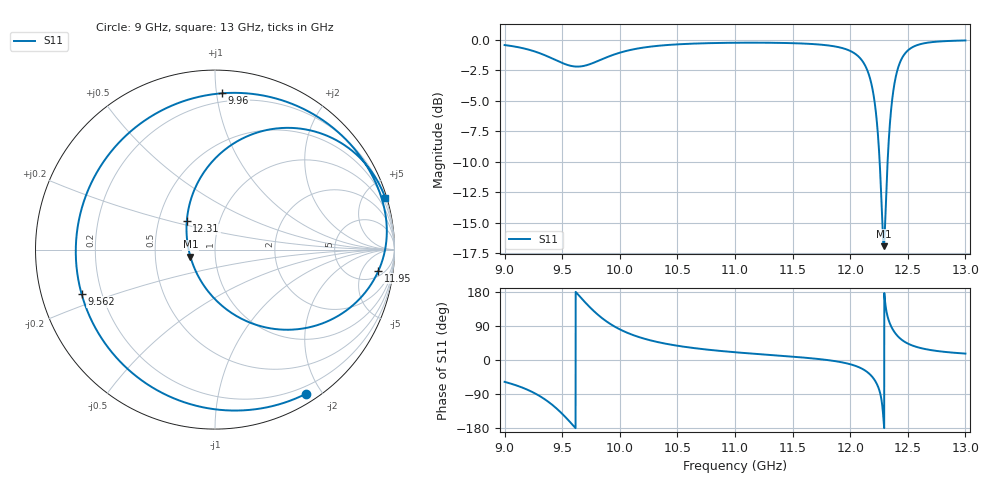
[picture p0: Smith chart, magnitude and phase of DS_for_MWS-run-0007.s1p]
! TOUCHSTONE file generated by CST DESIGN STUDIO
! Date and time: Tue Feb  4 13:41:08 2025
! Project name: C:\Work\MatlabApps\UnitCellOptimizationMatlab\CST\unitcell.cst
! Tree item: Tasks\Sweep1\SPara1\S-Parameters
! Header version: 2024
! Port assignment regex: !\s*Touchstone port\s*([0-9]+)\s*=\s*(CST MWS port|CST DES external port|CST DES block port)\s*(.+)\s* \(\"(.*)\"\)(\s*mode\s*([0-9]+))?.*
! Touchstone port assignment:
! Touchstone port 1 = CST DES external port 1 ("")
# GHz S MA R 50
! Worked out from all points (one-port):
!   4001 points, 9 GHz to 13 GHz, reference 50 ohm
!   lowest |S11| = -16.9 dB at 12.29 GHz (marker M1), VSWR 1.33, Z = 37.8 - j3.05 ohm
!   |S11| at or under -10 dB: 12.26 GHz to 12.32 GHz (68.89 MHz wide, 0.561 % of centre)
!   S11 on the Smith chart (normalised r, x): 9 GHz: 0.11, -1.81; 9.562 GHz: 0.12, -0.16; 9.96 GHz: 0.14, +1.04; 11.95 GHz: 7, -11; 12.31 GHz: 0.70, +0.23; 13 GHz: 0.19, +6.72
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9  0.9499 -57.7
9.156  0.9227 -73.1
9.307  0.8789 -95.5
9.407  0.8396 -116.7
9.5  0.8021 -142.0
9.562  0.7834 -161.6
9.661  0.7767 164.8
9.773  0.804 129.5
9.861  0.8369 107.0
9.96  0.8718 87.4
10  0.8839 80.9
10.218  0.9295 55.7
10.5  0.9562 37.6
11  0.9707 20.5
11.5  0.9669 8.8
11.948  0.9185 -7.3
12  0.8989 -11.2
12.122  0.7952 -26.3
12.207  0.5765 -50.6
12.25  0.3525 -77.1
12.291  0.1427 -163.9
12.311  0.2225 135.0
12.345  0.4546 95.9
12.386  0.6678 72.9
12.441  0.8241 54.9
12.5  0.9022 43.4
12.67  0.971 27.8
13  0.9919 16.9
